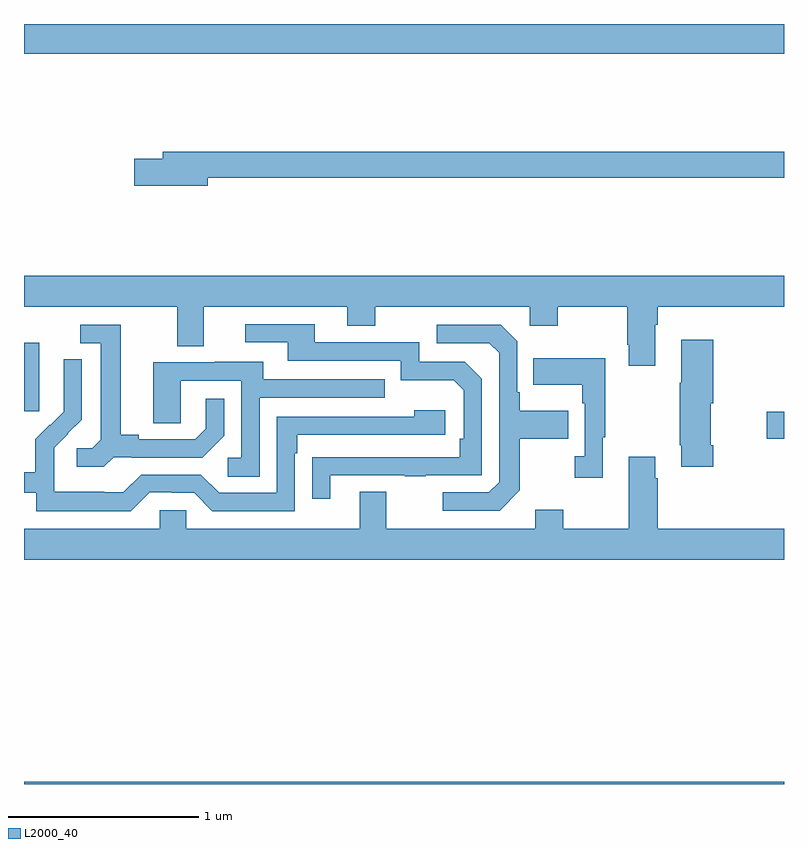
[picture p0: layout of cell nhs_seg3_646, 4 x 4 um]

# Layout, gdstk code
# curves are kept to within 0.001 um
import gdstk
lib = gdstk.Library(unit=1e-6, precision=1e-09)
def R(c, l, rs):  # rectangles x0, y0, x1, y1
    for r in rs: c.add(gdstk.rectangle(r[:2], r[2:], *l))
def P(c, l, *ps):  # polygons
    for p in ps: c.add(gdstk.Polygon(p, *l))
L2000_40 = (2000, 40)

nhs_seg3_646 = lib.new_cell('nhs_seg3_646')
R(nhs_seg3_646, L2000_40, [(143,702.4,147,702.412), (146.91,704.218,147,704.36), (143,704.361,143.08,704.722), (143,706.244,147,706.4)])
P(nhs_seg3_646, L2000_40, [(143.968,705.592),(147,705.592),(147,705.728),(143.729,705.728),(143.729,705.692),(143.58,705.692),(143.58,705.55),(143.968,705.55)],
  [(146.323,704.816),(146.336,704.816),(146.336,704.912),(147,704.912),(147,705.076),(143,705.076),(143,704.912),(143.807,704.912),(143.807,704.704),(143.947,704.704),(143.947,704.912),(144.701,704.912),(144.701,704.813),(144.849,704.813),(144.849,704.912),(145.662,704.912),(145.662,704.813),(145.809,704.813),(145.809,704.912),(146.176,704.912),(146.176,704.713),(146.183,704.713),(146.183,704.601),(146.323,704.601)],
  [(144.613,704.025),(145.003,704.025),(145.003,704.02),(145.115,704.02),(145.115,704.025),(145.41,704.025),(145.41,704.532),(145.32,704.622),(145.08,704.622),(145.08,704.724),(144.529,704.724),(144.529,704.82),(144.165,704.82),(144.165,704.724),(144.389,704.724),(144.389,704.628),(144.984,704.628),(144.984,704.525),(145.261,704.525),(145.314,704.472),(145.314,704.218),(145.294,704.218),(145.294,704.121),(144.517,704.12),(144.517,703.902),(144.613,703.902)],
  [(145.609,703.945),(145.609,704.218),(145.865,704.218),(145.865,704.365),(145.609,704.365),(145.609,704.461),(145.596,704.461),(145.596,704.73),(145.509,704.817),(145.173,704.817),(145.173,704.721),(145.449,704.721),(145.5,704.67),(145.5,703.989),(145.446,703.935),(145.203,703.935),(145.203,703.839),(145.503,703.839)],
  [(143.472,704.121),(143.566,704.121),(143.566,704.118),(143.938,704.118),(144.054,704.234),(144.054,704.428),(143.957,704.428),(143.957,704.271),(143.9,704.214),(143.605,704.214),(143.605,704.237),(143.509,704.237),(143.509,704.817),(143.295,704.817),(143.295,704.721),(143.405,704.721),(143.405,704.213),(143.358,704.166),(143.277,704.166),(143.277,704.069),(143.42,704.069)],
  [(146.627,704.182),(146.614,704.182),(146.614,704.403),(146.627,704.403),(146.627,704.737),(146.459,704.737),(146.459,704.513),(146.452,704.513),(146.452,704.182),(146.459,704.182),(146.459,704.07),(146.627,704.07)],
  [(146.047,704.225),(146.059,704.225),(146.059,704.641),(145.681,704.641),(145.681,704.501),(145.938,704.501),(145.938,704.405),(145.95,704.405),(145.95,704.126),(145.899,704.126),(145.899,704.013),(146.047,704.013)],
  [(143.661,703.935),(143.777,703.935),(143.777,703.932),(143.895,703.932),(143.991,703.836),(144.426,703.836),(144.426,704.141),(144.439,704.141),(144.439,704.238),(145.216,704.238),(145.216,704.368),(145.055,704.368),(145.055,704.334),(144.33,704.334),(144.33,703.932),(144.027,703.932),(143.931,704.028),(143.616,704.028),(143.523,703.935),(143.423,703.935),(143.423,703.939),(143.16,703.939),(143.16,704.073),(143.158,704.073),(143.158,704.17),(143.304,704.318),(143.304,704.636),(143.208,704.636),(143.208,704.482),(143.21,704.482),(143.21,704.36),(143.139,704.289),(143.136,704.292),(143.059,704.215),(143.059,704.041),(143,704.041),(143,703.932),(143.064,703.932),(143.064,703.835),(143.561,703.835)],
  [(144.24,704.433),(144.899,704.433),(144.899,704.529),(144.259,704.529),(144.259,704.623),(144.005,704.623),(144.005,704.619),(143.681,704.619),(143.681,704.299),(143.826,704.299),(143.826,704.523),(144.144,704.523),(144.144,704.118),(144.072,704.118),(144.072,704.017),(144.24,704.017)],
  [(147,703.744),(146.336,703.744),(146.336,704.009),(146.323,704.009),(146.323,704.122),(146.183,704.122),(146.183,703.744),(145.839,703.744),(145.839,703.843),(145.691,703.843),(145.691,703.744),(144.907,703.744),(144.907,703.939),(144.767,703.939),(144.767,703.744),(143.853,703.744),(143.853,703.842),(143.715,703.842),(143.715,703.744),(143,703.744),(143,703.58),(147,703.58)])

lib.write_gds('nhs_seg3_646.gds')
